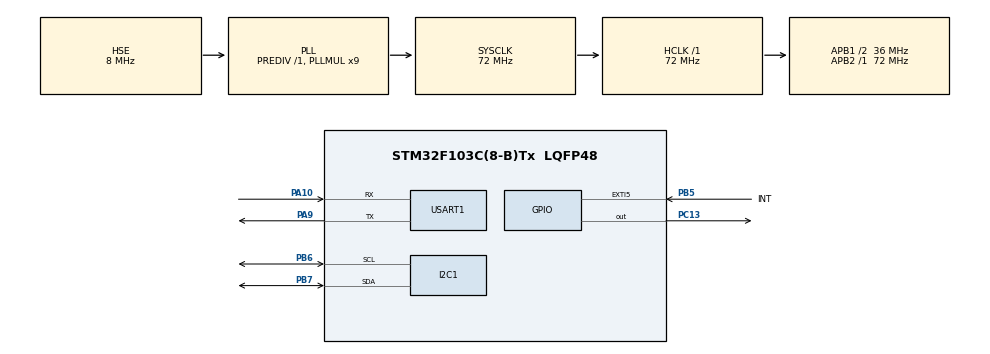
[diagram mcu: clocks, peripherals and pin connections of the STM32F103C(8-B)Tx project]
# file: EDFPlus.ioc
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Mcu.Family=STM32F1
Mcu.Name=STM32F103C(8-B)Tx
Mcu.Package=LQFP48
NVIC.EXTI9_5_IRQn=true\:0\:0\:false\:false\:true\:true\:true\:true
NVIC.PriorityGroup=NVIC_PRIORITYGROUP_4
PA10.Mode=Asynchronous
PA10.Signal=USART1_RX
PA13.Mode=Serial_Wire
PA13.Signal=SYS_JTMS-SWDIO
PA14.Mode=Serial_Wire
PA14.Signal=SYS_JTCK-SWCLK
PA9.Mode=Asynchronous
PA9.Signal=USART1_TX
PB5.GPIO_Label=INT
PB5.GPIO_PuPd=GPIO_PULLUP
PB5.Signal=GPXTI5
PB6.Mode=I2C
PB6.Signal=I2C1_SCL
PB7.Mode=I2C
PB7.Signal=I2C1_SDA
PC13-TAMPER-RTC.Signal=GPIO_Output
PC14-OSC32_IN.Mode=LSE-External-Oscillator
PC14-OSC32_IN.Signal=RCC_OSC32_IN
PC15-OSC32_OUT.Mode=LSE-External-Oscillator
PC15-OSC32_OUT.Signal=RCC_OSC32_OUT
PD0-OSC_IN.Mode=HSE-External-Oscillator
PD0-OSC_IN.Signal=RCC_OSC_IN
PD1-OSC_OUT.Mode=HSE-External-Oscillator
PD1-OSC_OUT.Signal=RCC_OSC_OUT
ProjectManager.HeapSize=0x200
ProjectManager.StackSize=0x400
ProjectManager.TargetToolchain=STM32CubeIDE
RCC.AHBFreq_Value=72000000
RCC.APB1CLKDivider=RCC_HCLK_DIV2
RCC.APB1Freq_Value=36000000
RCC.APB1TimFreq_Value=72000000
RCC.APB2Freq_Value=72000000
RCC.APB2TimFreq_Value=72000000
RCC.HCLKFreq_Value=72000000
RCC.PLLMUL=RCC_PLL_MUL9
RCC.PLLSourceVirtual=RCC_PLLSOURCE_HSE
RCC.SYSCLKFreq_VALUE=72000000
RCC.SYSCLKSource=RCC_SYSCLKSOURCE_PLLCLK
RCC.USBFreq_Value=72000000
USART1.VirtualMode=VM_ASYNC
board=custom

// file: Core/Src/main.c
/* USER CODE BEGIN Header */
/**
  ******************************************************************************
  * @file           : main.c
  * @brief          : Main program body
  ******************************************************************************
  * @attention
  *
  * Copyright (c) 2025 STMicroelectronics.
  * All rights reserved.
  *
  * This software is licensed under terms that can be found in the LICENSE file
  * in the root directory of this software component.
  * If no LICENSE file comes with this software, it is provided AS-IS.
  *
  ******************************************************************************
  */
/* USER CODE END Header */
#include "main.h"

/* USER CODE BEGIN Includes */
#include "liquidcrystal_i2c.h"
#include "stdio.h"
#include "MPR121.h"
#include "bmp180_for_stm32_hal.h"
#include "string.h"
#include "stdlib.h"
/* USER CODE END Includes */

/* USER CODE BEGIN PM */
#define MASK_RESPONSE 127
#define RESPONSES(Code)   (Code)
#define UPGRADE(Code) (Code+MASK_RESPONSE)
#define CODE_TEMP  1
#define CODE_PRES  2
#define CODE_KEY   3
#define CODE_COUNT 4
#define CODE_RESP  5
#define MY_ADDRESS 111
#include "funtion.h"
/* USER CODE END PM */

I2C_HandleTypeDef hi2c1;

UART_HandleTypeDef huart1;

/* USER CODE BEGIN PV */

#define RX_PM_C 100
#define RX_PM_D 150
#define RX_PM_T 150

#define TX_PM_C 10
#define TX_PM_D 100
#define TX_PM_T 1000

#define TEMP_PM_C 7
#define TEMP_PM_D 5000
#define TEMP_PM_T 5000

#define PRES_PM_C 36
#define PRES_PM_D 5000
#define PRES_PM_T 5000

#define KEYB_PM_C 1
#define KEYB_PM_D 100
#define KEYB_PM_T 200

#define LCD_PM_C 50
#define LCD_PM_D 100
#define LCD_PM_T 1000

#define IS_READY 1
#define NOT_READY 0
#define INT_MIN  0
typedef void (*TaskFunction_t)(void);

// Định nghĩa thông tin task
typedef struct {
    int C;                  // Thời gian thực thi
    int D;                  // Deadline
    int T;                  // Chu kỳ
    int Ready;              // SS
    int LastRun;            // Lần chạy cuối cùng
    int DeadlineMissed;     // Cờ báo trễ deadline
    TaskFunction_t Task;    // Con trỏ hàm thực hiện task
} TaskParameters_t;

void TaskMPR121();
void TaskTempBMP180();
void TaskPressBMP180();
void TaskLCD();
void TaskRX();
void TaskTX();

TaskParameters_t RX_PM = {RX_PM_C, RX_PM_D, RX_PM_T, 0, 0, INT_MIN, TaskRX};
TaskParameters_t TX_PM = {TX_PM_C, TX_PM_D, TX_PM_T, 0, 0, INT_MIN, TaskTX};
TaskParameters_t Temp_PM = {TEMP_PM_C, TEMP_PM_D, TEMP_PM_T, 0, 0, INT_MIN, TaskTempBMP180};
TaskParameters_t Pres_PM = {PRES_PM_C, PRES_PM_D, PRES_PM_T, 0, 0, INT_MIN, TaskPressBMP180};
TaskParameters_t KeyB_PM = {KEYB_PM_C, KEYB_PM_D, KEYB_PM_T, 0, 0, INT_MIN, TaskMPR121};
TaskParameters_t LCD_PM = {LCD_PM_C, LCD_PM_D, LCD_PM_T, 0, 0, INT_MIN, TaskLCD};

TaskParameters_t *ALL_TASK[] = {&KeyB_PM, &Temp_PM, &Pres_PM, &LCD_PM, &RX_PM, &TX_PM};

char print_lcd_row1[30];
char print_lcd_row2[30];
char send_to_rs485[50];
char read_to_rs485[50];
char indicate_1[] = "Send To RS485";
char indicate_T[] = "Send Temperature";
char indicate_P[] = "Send Pressure";
char indicate_C[] = "Send Count";
char indicate_M[] = "Send Status";
char indicate_E[] = "CRC Error";
char indicate_E_CDT[] = "Invalid C D T";
char indicate_C_D_T[] = "Set C D T";
char indicate_R_C_D_T[] = "Reset C D T";

char key_board[20];
float temperature;
int32_t pressure;
uint8_t len_key_board = 0, last_send = 0;
uint16_t last_touch = 0, new_touch = 0, count_touch = 0;
typedef struct
{
	int C;
	int D;
	int T;
	int LastRun;
	int DeadLine;
	int En;
} Task_t;
/* USER CODE END PV */

void SystemClock_Config(void);
static void MX_GPIO_Init(void);
static void MX_I2C1_Init(void);
static void MX_USART1_UART_Init(void);
/* USER CODE BEGIN PFP */
void HAL_GPIO_EXTI_Callback(uint16_t GPIO_Pin);
/* USER CODE END PFP */

/* USER CODE BEGIN 0 */
void TaskMPR121()
{
	  new_touch = touched();
	  if(new_touch != last_touch)
	  {
		  if(new_touch == 0)
		  {
			  char C = convert_to_char(last_touch);
			  if(C != '\0' && C != '*' && C != '#')
			  {
				  if(len_key_board < 16)
				  {
					  key_board[len_key_board++] = C;
					  key_board[len_key_board] = '\0';
				  }
				  else
				  {
					  memmove(key_board,&key_board[1],sizeof(key_board) - 1);
					  key_board[len_key_board - 1] = C;
					  key_board[len_key_board] = '\0';
				  }
			  }
			  else if(C == '#' && len_key_board > 0)
			  {
				  memset((void*)print_lcd_row2, 0, sizeof(print_lcd_row2));
				  memcpy((void*)print_lcd_row2, (void*)indicate_1, sizeof(indicate_1));
				  memcpy((void*)send_to_rs485, (void*)key_board, strlen(key_board));
				  gen_data_send_rs485(UPGRADE(CODE_KEY),send_to_rs485);
				  memset((void*)key_board, 0, sizeof(key_board));
				  len_key_board = 0;
			  }
			  else if(C == '*' && len_key_board > 0)
			  {
				  memset((void*)print_lcd_row2, 0, sizeof(print_lcd_row2));
				  key_board[--len_key_board] = '\0';
				  memcpy((void*)print_lcd_row2, (void*)key_board, len_key_board);
			  }
			  if(C != '\0' && len_key_board > 0 && C != '#')
			  {
				  memset((void*)print_lcd_row2, 0, sizeof(print_lcd_row2));
				  memcpy((void*)print_lcd_row2, (void*)key_board, strlen(key_board));
			  }
		  }
	  }
	  last_touch = new_touch;
}

void TaskTempBMP180()
{
	temperature = BMP180_GetTemperature();
}

void TaskPressBMP180()
{
	pressure = BMP180_GetPressure();
}

void TaskLCD()
{
	if(strlen(print_lcd_row1) > 0)
	{
		  HD44780_SetCursor(0,0);
		  HD44780_PrintStr(print_lcd_row1);
		  memset((void*)print_lcd_row1, 0, sizeof(print_lcd_row1));
	}
	else
	{
		HD44780_Clear();
		sprintf(print_lcd_row1, "%0.1f\t %dKPa %d", temperature, (int)pressure/1000, (int)count_touch);
		HD44780_PrintStr(print_lcd_row1);
	}
	if(strlen(print_lcd_row2) > 0)
	{
		  HD44780_SetCursor(0,1);
		  HD44780_PrintStr(print_lcd_row2);
	}
}

void TaskRX()
{
	memset((void*)read_to_rs485,0,sizeof(read_to_rs485));
	HAL_UART_Receive(&huart1, (uint8_t *)&read_to_rs485, sizeof (read_to_rs485) , 1000);
	  if(strlen(read_to_rs485) > 1)
	  {
		  DataStruct result;
		  parse_data(read_to_rs485,&result);
		  if(result.Addr == MY_ADDRESS && check_crc(&result) == result.Crc)
		  {
			  if(result.Code == 1)
			  {
				  if(result.Data[0] == '1')
				  {
					  memset((void*)send_to_rs485,0,sizeof(send_to_rs485));
					  sprintf(send_to_rs485, "%.1fC", temperature);
					  gen_data_send_rs485(RESPONSES(CODE_TEMP),send_to_rs485);
					  memset((void*)print_lcd_row2, 0, sizeof(print_lcd_row2));
					  memcpy((void*)print_lcd_row2, (void*)indicate_T, sizeof(indicate_T));

				  }
				  else if (result.Data[0] == '2')
				  {
					  memset((void*)send_to_rs485,0,sizeof(send_to_rs485));
					  sprintf(send_to_rs485, "%dPa", (int) pressure);
					  gen_data_send_rs485(RESPONSES(CODE_PRES),send_to_rs485);
					  memset((void*)print_lcd_row2, 0, sizeof(print_lcd_row2));
					  memcpy((void*)print_lcd_row2, (void*)indicate_P, sizeof(indicate_P));

				  }
				  else if (result.Data[0] == '4')
				  {
					  memset((void*)send_to_rs485,0,sizeof(send_to_rs485));
					  sprintf(send_to_rs485, "%dN", (int) count_touch);
					  gen_data_send_rs485(RESPONSES(CODE_COUNT),send_to_rs485);
					  memset((void*)print_lcd_row2, 0, sizeof(print_lcd_row2));
					  memcpy((void*)print_lcd_row2, (void*)indicate_C, sizeof(indicate_C));
				  }
			  }
			  else if(result.Code == 2)
			  {
				  result.Data[result.Len] = '\0';
				  memset((void*)print_lcd_row2, 0, sizeof(print_lcd_row2));
				  memcpy((void*)print_lcd_row2, (void*)(char*)result.Data, strlen((char*)result.Data));
				  memset((void*)send_to_rs485,0,sizeof(send_to_rs485));
				  sprintf(send_to_rs485, "Okee");
				  gen_data_send_rs485(RESPONSES(CODE_RESP),send_to_rs485);
			  }
			  else if(result.Code == 3)
			  {
				  result.Data[result.Len] = '\0';
				  memset((void*)print_lcd_row2, 0, sizeof(print_lcd_row2));
				  memcpy((void*)print_lcd_row2, (void*)indicate_M, sizeof(indicate_M));
				  memset((void*)send_to_rs485,0,sizeof(send_to_rs485));
				  sprintf(send_to_rs485, "Okee");
				  gen_data_send_rs485(RESPONSES(CODE_RESP),send_to_rs485);
			  }
		  }
		  else if(check_crc(&result) != result.Crc)
		  {
			  result.Data[result.Len] = '\0';
			  memset((void*)print_lcd_row2, 0, sizeof(print_lcd_row2));
			  memcpy((void*)print_lcd_row2, (void*)indicate_E, sizeof(indicate_E));
			  memset((void*)send_to_rs485,0,sizeof(send_to_rs485));
			  sprintf(send_to_rs485, "Error Crc");
			  gen_data_send_rs485(RESPONSES(CODE_RESP),send_to_rs485);
		  }
	  }
}

void TaskTX()
{
	if(strlen(send_to_rs485) > 0)
	{
		  if(HAL_UART_Transmit(&huart1, (uint8_t *)&send_to_rs485, strlen(send_to_rs485) , 1000) == HAL_OK)
		  {
		  	  memset((void*)send_to_rs485, 0, sizeof(send_to_rs485));
			  HAL_GPIO_TogglePin(GPIOC, GPIO_PIN_13);
		  }
	}
	else if(last_send == 1)
	{
		  last_send = 1 - last_send;
		  memset((void*)send_to_rs485,0,sizeof(send_to_rs485));
		  sprintf(send_to_rs485, "%.1fC", temperature);
		  gen_data_send_rs485(UPGRADE(CODE_TEMP),send_to_rs485);
		  HAL_UART_Transmit(&huart1, (uint8_t *)&send_to_rs485, strlen(send_to_rs485) , 1000);
	}
	else if(last_send == 0)
	{
	      last_send = 1 - last_send;
		  memset((void*)send_to_rs485, 0, sizeof(send_to_rs485));
		  sprintf(send_to_rs485, "%dPa", (int) pressure);
		  gen_data_send_rs485(UPGRADE(CODE_PRES),send_to_rs485);
		  HAL_UART_Transmit(&huart1, (uint8_t *)&send_to_rs485, strlen(send_to_rs485) , 1000);
	}
	memset((void*)send_to_rs485, 0, sizeof(send_to_rs485));
}
/* USER CODE END 0 */

int main(void)
{

  /* MCU Configuration--------------------------------------------------------*/

  /* Reset of all peripherals, Initializes the Flash interface and the Systick. */
  HAL_Init();

  /* Configure the system clock */
  SystemClock_Config();

  /* Initialize all configured peripherals */
  MX_GPIO_Init();
  MX_I2C1_Init();
  MX_USART1_UART_Init();
  /* USER CODE BEGIN 2 */
  HD44780_Init(2);
  MPR121_Init();
  BMP180_Init(&hi2c1);
  MPR121_Init();
  BMP180_SetOversampling(BMP180_ULTRA);
  BMP180_UpdateCalibrationData();
  HD44780_SetCursor(0,0);
  HD44780_PrintStr("INIT LCD 1602");
//  count_touch = 0;

  /* USER CODE END 2 */

  /* Infinite loop */
  /* USER CODE BEGIN WHILE */
	TaskMPR121();
	TaskTempBMP180();
	TaskPressBMP180();
	TaskLCD();
	TaskRX();
	TaskTX();
  while (1)
  {
    /* USER CODE END WHILE */

    /* USER CODE BEGIN 3 */
	  int TimeNow = HAL_GetTick();
	  int Num_tasks = sizeof(ALL_TASK) / sizeof(ALL_TASK[0]);
	  int Min_Dead_Line = 0, Dead_Line = 0;
	  for(int i = 0; i < Num_tasks; i++)
	  {
		  Dead_Line = ALL_TASK[i]->LastRun - TimeNow + ALL_TASK[i]->T;
		  if(Dead_Line < Min_Dead_Line)
		  {
			  Min_Dead_Line = Dead_Line;
			  for(int k = 0; k < i; k++)
			  {
				  ALL_TASK[k]->Ready = NOT_READY;
			  }
			  ALL_TASK[i]->Ready = IS_READY;
		  }
	  }
	  for(int i = 0; i < Num_tasks; i++)
	  {
		  if(ALL_TASK[i]->Ready == IS_READY)
		  {
			  ALL_TASK[i]->Task();
			  ALL_TASK[i]->Ready = NOT_READY;
			  ALL_TASK[i]->LastRun = HAL_GetTick();
		  }
	  }
  }
  /* USER CODE END 3 */
}

void SystemClock_Config(void)
{
  RCC_OscInitTypeDef RCC_OscInitStruct = {0};
  RCC_ClkInitTypeDef RCC_ClkInitStruct = {0};

  /** Initializes the RCC Oscillators according to the specified parameters
  * in the RCC_OscInitTypeDef structure.
  */
  RCC_OscInitStruct.OscillatorType = RCC_OSCILLATORTYPE_HSE;
  RCC_OscInitStruct.HSEState = RCC_HSE_ON;
  RCC_OscInitStruct.HSEPredivValue = RCC_HSE_PREDIV_DIV1;
  RCC_OscInitStruct.HSIState = RCC_HSI_ON;
  RCC_OscInitStruct.PLL.PLLState = RCC_PLL_ON;
  RCC_OscInitStruct.PLL.PLLSource = RCC_PLLSOURCE_HSE;
  RCC_OscInitStruct.PLL.PLLMUL = RCC_PLL_MUL9;
  if (HAL_RCC_OscConfig(&RCC_OscInitStruct) != HAL_OK)
  {
    Error_Handler();
  }

  /** Initializes the CPU, AHB and APB buses clocks
  */
  RCC_ClkInitStruct.ClockType = RCC_CLOCKTYPE_HCLK|RCC_CLOCKTYPE_SYSCLK
                              |RCC_CLOCKTYPE_PCLK1|RCC_CLOCKTYPE_PCLK2;
  RCC_ClkInitStruct.SYSCLKSource = RCC_SYSCLKSOURCE_PLLCLK;
  RCC_ClkInitStruct.AHBCLKDivider = RCC_SYSCLK_DIV1;
  RCC_ClkInitStruct.APB1CLKDivider = RCC_HCLK_DIV2;
  RCC_ClkInitStruct.APB2CLKDivider = RCC_HCLK_DIV1;

  if (HAL_RCC_ClockConfig(&RCC_ClkInitStruct, FLASH_LATENCY_2) != HAL_OK)
  {
    Error_Handler();
  }
}

static void MX_I2C1_Init(void)
{

  hi2c1.Instance = I2C1;
  hi2c1.Init.ClockSpeed = 100000;
  hi2c1.Init.DutyCycle = I2C_DUTYCYCLE_2;
  hi2c1.Init.OwnAddress1 = 0;
  hi2c1.Init.AddressingMode = I2C_ADDRESSINGMODE_7BIT;
  hi2c1.Init.DualAddressMode = I2C_DUALADDRESS_DISABLE;
  hi2c1.Init.OwnAddress2 = 0;
  hi2c1.Init.GeneralCallMode = I2C_GENERALCALL_DISABLE;
  hi2c1.Init.NoStretchMode = I2C_NOSTRETCH_DISABLE;
  if (HAL_I2C_Init(&hi2c1) != HAL_OK)
  {
    Error_Handler();
  }

}

static void MX_USART1_UART_Init(void)
{

  huart1.Instance = USART1;
  huart1.Init.BaudRate = 115200;
  huart1.Init.WordLength = UART_WORDLENGTH_8B;
  huart1.Init.StopBits = UART_STOPBITS_1;
  huart1.Init.Parity = UART_PARITY_NONE;
  huart1.Init.Mode = UART_MODE_TX_RX;
  huart1.Init.HwFlowCtl = UART_HWCONTROL_NONE;
  huart1.Init.OverSampling = UART_OVERSAMPLING_16;
  if (HAL_UART_Init(&huart1) != HAL_OK)
  {
    Error_Handler();
  }

}

static void MX_GPIO_Init(void)
{
  GPIO_InitTypeDef GPIO_InitStruct = {0};

  /* GPIO Ports Clock Enable */
  __HAL_RCC_GPIOC_CLK_ENABLE();
  __HAL_RCC_GPIOD_CLK_ENABLE();
  __HAL_RCC_GPIOA_CLK_ENABLE();
  __HAL_RCC_GPIOB_CLK_ENABLE();

  /*Configure GPIO pin Output Level */
  HAL_GPIO_WritePin(GPIOC, GPIO_PIN_13, GPIO_PIN_RESET);

  /*Configure GPIO pin : PC13 */
  GPIO_InitStruct.Pin = GPIO_PIN_13;
  GPIO_InitStruct.Mode = GPIO_MODE_OUTPUT_PP;
  GPIO_InitStruct.Pull = GPIO_NOPULL;
  GPIO_InitStruct.Speed = GPIO_SPEED_FREQ_LOW;
  HAL_GPIO_Init(GPIOC, &GPIO_InitStruct);

  /*Configure GPIO pin : INT_Pin */
  GPIO_InitStruct.Pin = INT_Pin;
  GPIO_InitStruct.Mode = GPIO_MODE_IT_RISING;
  GPIO_InitStruct.Pull = GPIO_PULLUP;
  HAL_GPIO_Init(INT_GPIO_Port, &GPIO_InitStruct);

  /* EXTI interrupt init*/
  HAL_NVIC_SetPriority(EXTI9_5_IRQn, 0, 0);
  HAL_NVIC_EnableIRQ(EXTI9_5_IRQn);

}

/* USER CODE BEGIN 4 */
void HAL_GPIO_EXTI_Callback(uint16_t GPIO_Pin)
{
	if(GPIO_Pin == INT_Pin) {
		HAL_GPIO_TogglePin(GPIOC, GPIO_PIN_13);
		count_touch++;
	} else {
		__NOP();
	}
}

/* USER CODE END 4 */

void Error_Handler(void)
{
  __disable_irq();
  while (1)
  {
  }
}
